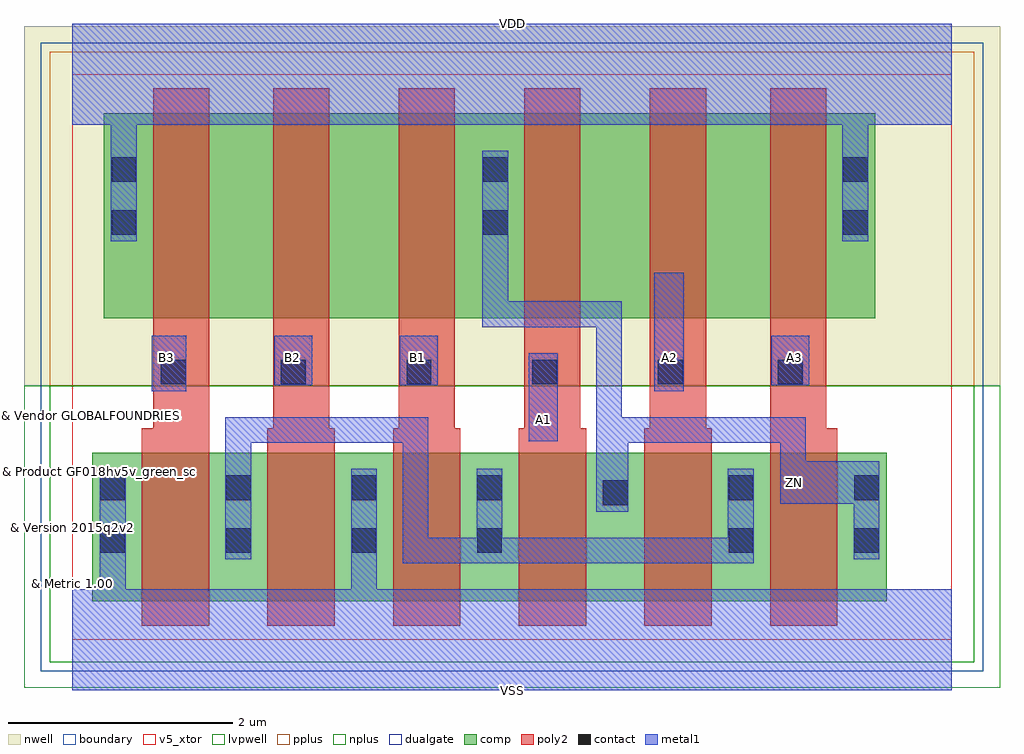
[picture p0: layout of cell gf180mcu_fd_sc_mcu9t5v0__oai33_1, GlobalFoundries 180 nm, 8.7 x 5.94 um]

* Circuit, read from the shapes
.subckt gf180mcu_fd_sc_mcu9t5v0__oai33_1 A1 A2 A3 B1 B2 B3 VDD VSS ZN
XM1 n1 B3 VSS VSUBS nfet_05v0 w=1.32u l=0.6u
XM2 VSS B2 n1 VSUBS nfet_05v0 w=1.32u l=0.6u
XM3 n1 B1 VSS VSUBS nfet_05v0 w=1.32u l=0.6u
XM4 ZN A1 n1 VSUBS nfet_05v0 w=1.32u l=0.6u
XM5 n1 A2 ZN VSUBS nfet_05v0 w=1.32u l=0.6u
XM6 ZN A3 n1 VSUBS nfet_05v0 w=1.32u l=0.6u
XM7 n2 B3 VDD n3 pfet_05v0 w=1.83u l=0.5u
XM8 n4 B2 n2 n3 pfet_05v0 w=1.83u l=0.5u
XM9 ZN B1 n4 n3 pfet_05v0 w=1.83u l=0.5u
XM10 n5 A1 ZN n3 pfet_05v0 w=1.83u l=0.5u
XM11 n6 A2 n5 n3 pfet_05v0 w=1.83u l=0.5u
XM12 VDD A3 n6 n3 pfet_05v0 w=1.83u l=0.5u
.ends

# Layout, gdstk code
import gdstk
lib = gdstk.Library(unit=1e-6, precision=1e-09)
def R(c, l, rs):  # rectangles x0, y0, x1, y1
    for r in rs: c.add(gdstk.rectangle(r[:2], r[2:], *l))
def A(c, l, x, y, w, h, nx, ny, dx, dy):  # array of equal rectangles
    R(c, l, [(x+i*dx, y+j*dy, x+i*dx+w, y+j*dy+h) for i in range(nx) for j in range(ny)])
def P(c, l, *ps):  # polygons
    for p in ps: c.add(gdstk.Polygon(p, *l))
boundary = (0, 0)
nwell = (21, 0)
comp = (22, 0)
poly2 = (30, 0)
pplus = (31, 0)
nplus = (32, 0)
contact = (33, 0)
metal1 = (34, 0)
dualgate = (55, 0)
v5_xtor = (112, 1)
lvpwell = (204, 0)

gf180mcu_fd_sc_mcu9t5v0_ = lib.new_cell('gf180mcu_fd_sc_mcu9t5v0__oai33_1')
R(gf180mcu_fd_sc_mcu9t5v0_, boundary, [(0,0,7.84,5.04)])
R(gf180mcu_fd_sc_mcu9t5v0_, nwell, [(-0.43,2.265,8.27,5.47)])
R(gf180mcu_fd_sc_mcu9t5v0_, comp, [(0.18,0.345,7.26,1.665), (0.28,2.865,7.16,4.695)])
P(gf180mcu_fd_sc_mcu9t5v0_, poly2, [(0.62,0.125),(0.62,1.885),(0.72,1.885),(0.72,4.915),(1.22,4.915),(1.22,0.125)],
  [(1.74,0.125),(1.74,1.885),(1.79,1.885),(1.79,4.915),(2.29,4.915),(2.29,1.885),(2.34,1.885),(2.34,0.125)],
  [(2.86,0.125),(2.86,1.885),(2.91,1.885),(2.91,4.915),(3.41,4.915),(3.41,1.885),(3.46,1.885),(3.46,0.125)],
  [(3.98,0.125),(3.98,1.885),(4.03,1.885),(4.03,4.915),(4.53,4.915),(4.53,1.885),(4.58,1.885),(4.58,0.125)],
  [(5.1,0.125),(5.1,1.885),(5.15,1.885),(5.15,4.915),(5.65,4.915),(5.65,1.885),(5.7,1.885),(5.7,0.125)],
  [(6.22,0.125),(6.22,4.915),(6.72,4.915),(6.72,1.885),(6.82,1.885),(6.82,0.125)])
R(gf180mcu_fd_sc_mcu9t5v0_, pplus, [(-0.2,2.265,8.04,5.24)])
R(gf180mcu_fd_sc_mcu9t5v0_, nplus, [(-0.2,-0.2,8.04,2.265)])
A(gf180mcu_fd_sc_mcu9t5v0_, contact, 0.25, 0.775, 0.22, 0.22, 4, 2, 1.12, 0.47)
A(gf180mcu_fd_sc_mcu9t5v0_, contact, 1.86, 2.275, 0.22, 0.22, 4, 1, 1.12, 0)
R(gf180mcu_fd_sc_mcu9t5v0_, contact, [(5.85,0.775,6.07,0.995), (6.97,0.775,7.19,0.995), (4.73,1.2,4.95,1.42), (5.85,1.245,6.07,1.465), (6.97,1.245,7.19,1.465), (0.79,2.275,1.01,2.495), (6.29,2.275,6.51,2.495), (0.35,3.61,0.57,3.83), (3.66,3.61,3.88,3.83), (6.87,3.61,7.09,3.83), (0.35,4.08,0.57,4.3), (3.66,4.08,3.88,4.3), (6.87,4.08,7.09,4.3)])
R(gf180mcu_fd_sc_mcu9t5v0_, metal1, [(4.07,1.77,4.33,2.555), (0.71,2.215,1.015,2.71), (5.19,2.215,5.45,3.27), (1.8,2.27,2.14,2.71), (2.92,2.27,3.26,2.71), (6.23,2.27,6.57,2.71)])
P(gf180mcu_fd_sc_mcu9t5v0_, metal1, [(2.945,0.68),(2.945,1.755),(1.595,1.755),(1.595,0.715),(1.365,0.715),(1.365,1.985),(3.175,1.985),(3.175,0.91),(3.605,0.91),(3.605,1.525),(3.835,1.525),(3.835,0.91),(5.845,0.91),(5.845,1.525),(6.075,1.525),(6.075,0.68)],
  [(6.965,0.715),(6.965,1.21),(6.31,1.21),(6.31,1.755),(4.955,1.755),(4.955,1.14),(4.67,1.14),(4.67,2.785),(3.655,2.785),(3.655,4.36),(3.885,4.36),(3.885,3.015),(4.9,3.015),(4.9,1.985),(6.54,1.985),(6.54,1.59),(7.195,1.59),(7.195,0.715)],
  [(0,-0.45),(0,0.45),(0.245,0.45),(0.245,1.525),(0.475,1.525),(0.475,0.45),(2.485,0.45),(2.485,1.525),(2.715,1.525),(2.715,0.45),(7.84,0.45),(7.84,-0.45)],
  [(0.345,3.55),(0.345,4.59),(0,4.59),(0,5.49),(7.84,5.49),(7.84,4.59),(7.095,4.59),(7.095,3.55),(6.865,3.55),(6.865,4.59),(0.575,4.59),(0.575,3.55)])
R(gf180mcu_fd_sc_mcu9t5v0_, dualgate, [(-0.28,-0.28,8.12,5.32)])
R(gf180mcu_fd_sc_mcu9t5v0_, v5_xtor, [(0,0,7.84,5.04)])
R(gf180mcu_fd_sc_mcu9t5v0_, lvpwell, [(-0.43,-0.43,8.27,2.265)])
gf180mcu_fd_sc_mcu9t5v0_.add(gdstk.Label('A1', (4.2,1.96), layer=34, texttype=10))
gf180mcu_fd_sc_mcu9t5v0_.add(gdstk.Label('A2', (5.32,2.52), layer=34, texttype=10))
gf180mcu_fd_sc_mcu9t5v0_.add(gdstk.Label('A3', (6.44,2.52), layer=34, texttype=10))
gf180mcu_fd_sc_mcu9t5v0_.add(gdstk.Label('B1', (3.08,2.52), layer=34, texttype=10))
gf180mcu_fd_sc_mcu9t5v0_.add(gdstk.Label('B2', (1.96,2.52), layer=34, texttype=10))
gf180mcu_fd_sc_mcu9t5v0_.add(gdstk.Label('B3', (0.84,2.52), layer=34, texttype=10))
gf180mcu_fd_sc_mcu9t5v0_.add(gdstk.Label('VDD', (3.92,5.49), layer=34, texttype=10))
gf180mcu_fd_sc_mcu9t5v0_.add(gdstk.Label('VSS', (3.92,-0.45), layer=34, texttype=10))
gf180mcu_fd_sc_mcu9t5v0_.add(gdstk.Label('ZN', (6.44,1.4), layer=34, texttype=10))
gf180mcu_fd_sc_mcu9t5v0_.add(gdstk.Label('& Vendor GLOBALFOUNDRIES', (0,2), layer=63, texttype=63))
gf180mcu_fd_sc_mcu9t5v0_.add(gdstk.Label('& Product GF018hv5v_green_sc9', (0,1.5), layer=63, texttype=63))
gf180mcu_fd_sc_mcu9t5v0_.add(gdstk.Label('& Version 2015q2v2', (0,1), layer=63, texttype=63))
gf180mcu_fd_sc_mcu9t5v0_.add(gdstk.Label('& Metric 1.00', (0,0.5), layer=63, texttype=63))

lib.write_gds('gf180mcu_fd_sc_mcu9t5v0__oai33_1.gds')
